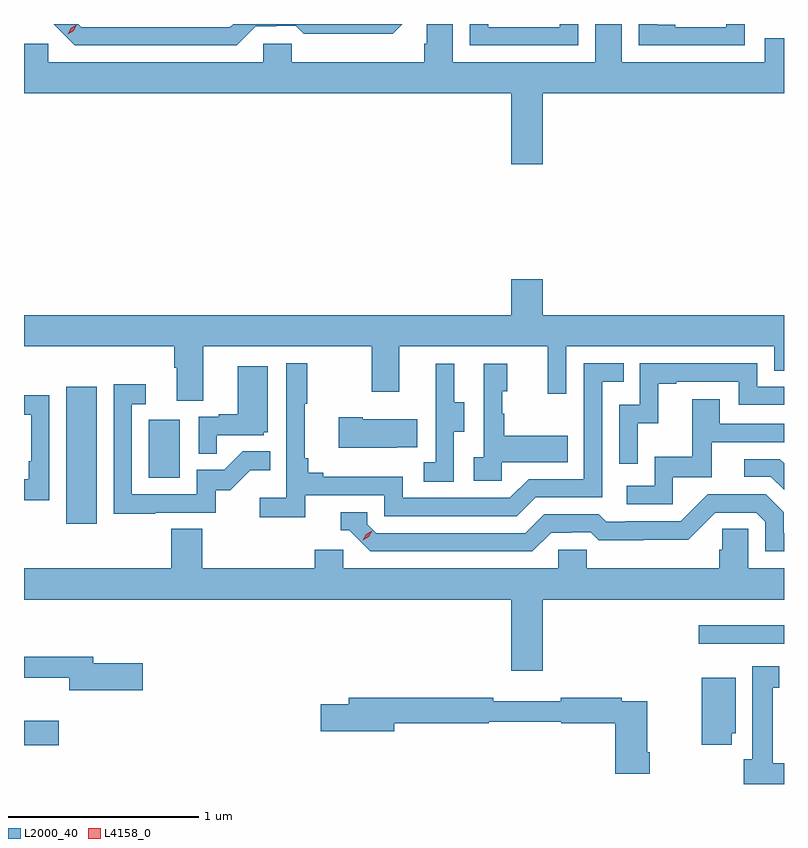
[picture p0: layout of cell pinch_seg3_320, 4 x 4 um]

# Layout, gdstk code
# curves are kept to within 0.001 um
import gdstk
lib = gdstk.Library(unit=1e-6, precision=1e-09)
def R(c, l, rs):  # rectangles x0, y0, x1, y1
    for r in rs: c.add(gdstk.rectangle(r[:2], r[2:], *l))
def P(c, l, *ps):  # polygons
    for p in ps: c.add(gdstk.Polygon(p, *l))
L2000_40 = (2000, 40)
L4158_0 = (4158, 0)

pinch_seg3_320 = lib.new_cell('pinch_seg3_320')
R(pinch_seg3_320, L2000_40, [(1013.591,708.142,1013.773,708.271), (1017.141,708.675,1017.591,708.772), (1013.813,709.308,1013.974,710.029), (1014.248,709.548,1014.412,709.855)])
P(pinch_seg3_320, L2000_40, [(1016.32,711.572),(1017.591,711.572),(1017.591,711.863),(1017.489,711.863),(1017.489,711.736),(1016.737,711.736),(1016.737,711.937),(1016.598,711.937),(1016.598,711.736),(1015.848,711.736),(1015.848,711.937),(1015.711,711.937),(1015.711,711.834),(1015.697,711.834),(1015.697,711.736),(1014.999,711.736),(1014.999,711.834),(1014.849,711.834),(1014.849,711.736),(1013.718,711.736),(1013.718,711.834),(1013.591,711.834),(1013.591,711.572),(1016.156,711.572),(1016.156,711.198),(1016.32,711.198)],
  [(1014.811,711.924),(1014.918,711.924),(1014.918,711.927),(1015.021,711.927),(1015.063,711.885),(1015.296,711.885),(1015.296,711.887),(1015.532,711.887),(1015.582,711.937),(1014.691,711.937),(1014.675,711.921),(1013.892,711.921),(1013.876,711.937),(1013.705,711.937),(1013.748,711.936),(1013.859,711.825),(1014.712,711.825)],
  [(1016.508,711.937),(1016.412,711.937),(1016.412,711.921),(1016.035,711.921),(1016.035,711.937),(1015.938,711.937),(1015.938,711.825),(1016.508,711.825)],
  [(1017.384,711.937),(1017.288,711.937),(1017.288,711.921),(1017.019,711.921),(1017.019,711.934),(1016.923,711.934),(1016.923,711.937),(1016.826,711.937),(1016.826,711.825),(1017.384,711.825)],
  [(1013.591,710.24),(1014.383,710.24),(1014.383,710.128),(1014.395,710.128),(1014.395,709.954),(1014.535,709.954),(1014.535,710.24),(1015.42,710.24),(1015.42,710.001),(1015.567,710.001),(1015.567,710.24),(1016.348,710.24),(1016.348,709.992),(1016.445,709.992),(1016.445,710.24),(1017.54,710.24),(1017.54,710.113),(1017.591,710.113),(1017.591,710.404),(1016.32,710.404),(1016.32,710.593),(1016.156,710.593),(1016.156,710.404),(1013.591,710.404)],
  [(1015.07,709.458),(1015.488,709.458),(1015.488,709.347),(1016.185,709.347),(1016.284,709.446),(1016.634,709.446),(1016.634,710.055),(1016.747,710.055),(1016.747,710.151),(1016.538,710.151),(1016.538,709.542),(1016.247,709.542),(1016.148,709.443),(1015.584,709.443),(1015.584,709.555),(1015.165,709.555),(1015.165,709.574),(1015.088,709.574),(1015.088,709.651),(1015.069,709.651),(1015.069,709.939),(1015.081,709.939),(1015.081,710.152),(1014.972,710.152),(1014.972,709.444),(1014.831,709.444),(1014.831,709.342),(1015.07,709.342)],
  [(1016.82,709.835),(1016.93,709.835),(1016.93,710.043),(1017.025,710.043),(1017.025,710.055),(1017.354,710.055),(1017.354,709.932),(1017.591,709.932),(1017.591,710.028),(1017.45,710.028),(1017.45,710.151),(1016.832,710.151),(1016.832,709.932),(1016.724,709.932),(1016.724,709.623),(1016.82,709.623)],
  [(1016.106,709.631),(1016.453,709.631),(1016.453,709.771),(1016.119,709.771),(1016.119,709.886),(1016.109,709.886),(1016.109,710.004),(1016.134,710.004),(1016.134,710.149),(1016.01,710.149),(1016.01,709.658),(1015.959,709.658),(1015.959,709.533),(1016.106,709.533)],
  [(1015.854,709.792),(1015.909,709.792),(1015.909,709.947),(1015.855,709.947),(1015.855,710.149),(1015.757,710.149),(1015.757,709.935),(1015.758,709.935),(1015.758,709.631),(1015.695,709.631),(1015.695,709.528),(1015.854,709.528)],
  [(1014.605,709.773),(1014.852,709.773),(1014.852,709.788),(1014.874,709.788),(1014.874,710.137),(1014.716,710.137),(1014.716,709.882),(1014.617,709.882),(1014.617,709.869),(1014.51,709.869),(1014.51,709.675),(1014.605,709.675)],
  [(1014.281,709.365),(1014.6,709.365),(1014.6,709.482),(1014.676,709.482),(1014.783,709.589),(1014.887,709.589),(1014.887,709.688),(1014.743,709.688),(1014.645,709.59),(1014.501,709.59),(1014.501,709.461),(1014.159,709.461),(1014.159,709.935),(1014.232,709.935),(1014.232,710.041),(1014.063,710.041),(1014.063,709.36),(1014.281,709.36)],
  [(1013.724,709.982),(1013.591,709.982),(1013.591,709.881),(1013.628,709.881),(1013.628,709.636),(1013.615,709.636),(1013.615,709.54),(1013.591,709.54),(1013.591,709.431),(1013.724,709.431)],
  [(1017.006,709.551),(1017.211,709.551),(1017.211,709.737),(1017.591,709.737),(1017.591,709.833),(1017.253,709.833),(1017.253,709.963),(1017.109,709.963),(1017.109,709.66),(1016.91,709.66),(1016.91,709.506),(1016.763,709.506),(1016.763,709.41),(1017.006,709.41)],
  [(1015.553,709.709),(1015.661,709.709),(1015.661,709.858),(1015.375,709.858),(1015.375,709.866),(1015.247,709.866),(1015.247,709.706),(1015.553,709.706)],
  [(1017.591,709.624),(1017.568,709.647),(1017.381,709.647),(1017.381,709.554),(1017.522,709.554),(1017.591,709.485)],
  [(1016.365,709.26),(1016.472,709.26),(1016.472,709.263),(1016.575,709.263),(1016.617,709.221),(1016.85,709.221),(1016.85,709.223),(1017.086,709.223),(1017.228,709.365),(1017.444,709.365),(1017.492,709.317),(1017.492,709.161),(1017.591,709.161),(1017.591,709.257),(1017.589,709.257),(1017.589,709.367),(1017.495,709.461),(1017.189,709.461),(1017.048,709.32),(1016.755,709.32),(1016.755,709.317),(1016.656,709.317),(1016.617,709.356),(1016.328,709.356),(1016.229,709.257),(1015.446,709.257),(1015.398,709.305),(1015.398,709.368),(1015.259,709.368),(1015.259,709.272),(1015.302,709.272),(1015.413,709.161),(1016.266,709.161)],
  [(1016.32,708.908),(1017.591,708.908),(1017.591,709.072),(1017.402,709.072),(1017.402,709.28),(1017.265,709.28),(1017.265,709.17),(1017.251,709.17),(1017.251,709.072),(1016.553,709.072),(1016.553,709.17),(1016.403,709.17),(1016.403,709.072),(1015.272,709.072),(1015.272,709.17),(1015.121,709.17),(1015.121,709.072),(1014.53,709.072),(1014.53,709.28),(1014.365,709.28),(1014.365,709.072),(1013.591,709.072),(1013.591,708.908),(1016.156,708.908),(1016.156,708.534),(1016.32,708.534)],
  [(1014.217,708.573),(1013.956,708.573),(1013.956,708.607),(1013.591,708.607),(1013.591,708.496),(1013.828,708.496),(1013.828,708.431),(1014.217,708.431)],
  [(1017.591,708.046),(1017.532,708.046),(1017.532,708.443),(1017.565,708.443),(1017.565,708.556),(1017.425,708.556),(1017.425,708.066),(1017.38,708.066),(1017.38,707.937),(1017.591,707.937)],
  [(1017.316,708.204),(1017.337,708.204),(1017.337,708.496),(1017.158,708.496),(1017.158,708.144),(1017.316,708.144)],
  [(1016.885,708.103),(1016.872,708.103),(1016.872,708.372),(1016.738,708.372),(1016.738,708.392),(1016.416,708.392),(1016.416,708.373),(1016.06,708.373),(1016.06,708.392),(1015.301,708.392),(1015.301,708.356),(1015.152,708.356),(1015.152,708.214),(1015.54,708.214),(1015.54,708.256),(1016.036,708.256),(1016.036,708.264),(1016.418,708.264),(1016.418,708.256),(1016.702,708.256),(1016.702,707.991),(1016.885,707.991)])
P(pinch_seg3_320, L4158_0, [(1015.375,709.219),(1015.375,709.219),(1015.392,709.251),(1015.423,709.27),(1015.423,709.27),(1015.423,709.27),(1015.406,709.238),(1015.375,709.219)],
  [(1013.821,711.883),(1013.821,711.883),(1013.838,711.915),(1013.868,711.934),(1013.869,711.934),(1013.869,711.934),(1013.852,711.902),(1013.821,711.883)])

lib.write_gds('pinch_seg3_320.gds')
